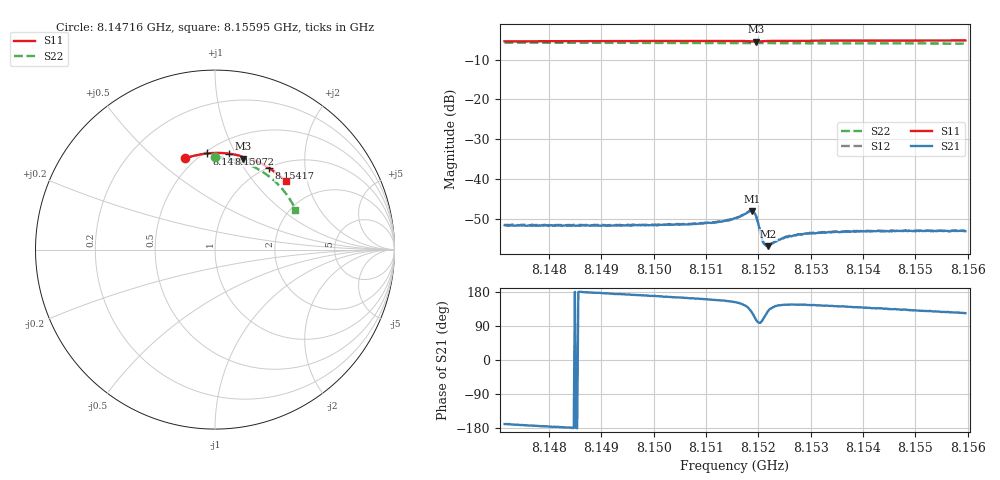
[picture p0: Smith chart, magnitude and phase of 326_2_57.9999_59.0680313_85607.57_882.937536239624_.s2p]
#  HZ  S  RI  R  50.00
! Rohde & Schwarz Vector Network Analyzer
! Rohde-Schwarz,ZNB20-2Port,1311601062101988,3.16
! Created: UTC 3/21/2024, 1:04:54 AM
! freq[Hz]  re:S11  im:S11  re:S21  im:S21  re:S12  im:S12  re:S22  im:S22
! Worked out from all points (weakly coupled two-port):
!   401 points, 8.14716 GHz to 8.15595 GHz, reference 50 ohm
!   highest |S21| = -47.94 dB at 8.15188 GHz (marker M1); lowest = -56.8 dB at 8.15219 GHz (marker M2)
!   lowest |S11| = -5.5 dB at 8.15195 GHz (marker M3), VSWR 3.26, Z = 37.2 + j52.4 ohm
!   |S11| at or under -10 dB: nowhere
!   |S22| runs from -6.0 to -5.8 dB; largest |S21 - S12| = 0.00011
!   S11 on the Smith chart (normalised r, x): 8.14716 GHz: 0.44, +0.63; 8.14894 GHz: 0.52, +0.78; 8.15072 GHz: 0.62, +0.94; 8.15417 GHz: 1.00, +1.30; 8.15595 GHz: 1.37, +1.49
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8.147156e9  -0.1665 0.5076  -0.00261 -0.000504  -0.00264 -0.000464  0.002 0.5137
8.14863e9  -0.0668 0.5328  -0.00266 8.26e-06  -0.00267 6.53e-05  0.0976 0.5026
8.148937e9  -0.0456 0.5355  -0.00261 0.000135  -0.00265 0.000169  0.1169 0.4981
8.150103e9  0.0355 0.5382  -0.00261 0.00055  -0.00264 0.000592  0.1883 0.4739
8.150719e9  0.0785 0.5345  -0.00261 0.00082  -0.0026 0.000866  0.2243 0.4572
8.151159e9  0.1092 0.5298  -0.00265 0.00102  -0.00266 0.00108  0.2489 0.4436
8.151554e9  0.1375 0.523  -0.00288 0.00147  -0.00285 0.00153  0.2705 0.4301
8.15184e9  0.1574 0.5118  -0.00271 0.00295  -0.0027 0.00298  0.2854 0.4195
8.151884e9  0.1586 0.5087  -0.00226 0.00332  -0.00223 0.00341  0.2876 0.4177
8.151906e9  0.1586 0.5074  -0.00188 0.00344  -0.00186 0.00348  0.2887 0.4167
8.15195e9  0.1575 0.5062  -0.00106 0.00337  -0.00105 0.0034  0.2908 0.4151
8.151994e9  0.1572 0.5075  -0.000476 0.0028  -0.000427 0.00283  0.2929 0.4138
8.15206e9  0.1601 0.5106  -0.000385 0.00185  -0.000341 0.00189  0.2963 0.4113
8.152104e9  0.1635 0.5117  -0.000568 0.00146  -0.000555 0.00148  0.2985 0.4098
8.152148e9  0.1671 0.512  -0.000745 0.00127  -0.000725 0.0013  0.3008 0.4082
8.152192e9  0.1708 0.512  -0.000935 0.00111  -0.000962 0.00117  0.303 0.4064
8.152346e9  0.1827 0.5099  -0.00133 0.00101  -0.00134 0.00104  0.3107 0.4003
8.152566e9  0.1983 0.5051  -0.00157 0.00105  -0.00161 0.00109  0.3215 0.3913
8.153028e9  0.2288 0.4932  -0.00172 0.00123  -0.00174 0.00121  0.3432 0.3715
8.154171e9  0.2992 0.4561  -0.00162 0.00154  -0.00161 0.00154  0.391 0.3176
8.154501e9  0.3182 0.4436  -0.00157 0.00158  -0.00155 0.00161  0.4033 0.3009
8.155953e9  0.3949 0.3797  -0.00123 0.00186  -0.00124 0.00187  0.4485 0.2226
